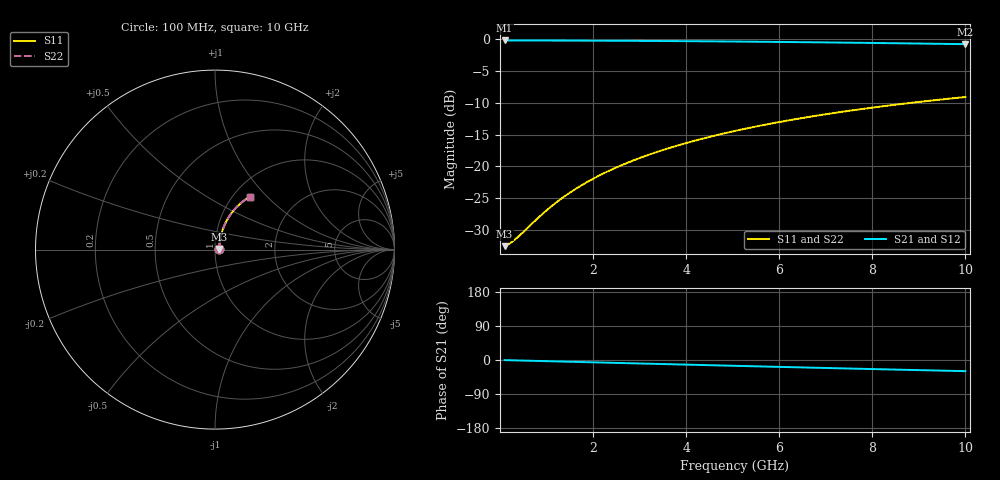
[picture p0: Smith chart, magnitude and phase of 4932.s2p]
# Hz S RI R 50.00
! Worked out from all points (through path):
!   100 points, 100 MHz to 10 GHz, reference 50 ohm
!   highest |S21| = -0.21 dB at 100 MHz (marker M1); lowest = -0.8 dB at 10 GHz (marker M2)
!   group delay of S21, straight-line fit = 8.2 ps
!   lowest |S11| = -32.5 dB at 100 MHz (marker M3), VSWR 1.05, Z = 52.4 + j0.388 ohm
!   |S11| at or under -10 dB: start of sweep to 8.845 GHz
!   |S22| runs from -32.5 to -9.1 dB; largest |S21 - S12| = 0
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1e8  0.0233 0.0037  0.9766 -0.00524  0.9766 -0.00524  0.0233 0.0037
2e8  0.0236 0.0074  0.9764 -0.0105  0.9764 -0.0105  0.0236 0.0074
3e8  0.0238 0.0111  0.9762 -0.0157  0.9762 -0.0157  0.0238 0.0111
4e8  0.024 0.0148  0.976 -0.021  0.976 -0.021  0.024 0.0148
9e8  0.0256 0.0332  0.9743 -0.0471  0.9743 -0.0471  0.0256 0.0332
1.2e9  0.027 0.0442  0.9728 -0.0627  0.9728 -0.0627  0.027 0.0442
1.5e9  0.0287 0.0551  0.971 -0.0782  0.971 -0.0782  0.0287 0.0551
1.8e9  0.0307 0.066  0.9689 -0.0937  0.9689 -0.0937  0.0307 0.066
2.1e9  0.0331 0.0767  0.9663 -0.1091  0.9663 -0.1091  0.0331 0.0767
2.5e9  0.0368 0.0909  0.9624 -0.1295  0.9624 -0.1295  0.0368 0.0909
2.9e9  0.0411 0.1049  0.9579 -0.1496  0.9579 -0.1496  0.0411 0.1049
3.4e9  0.0472 0.1221  0.9514 -0.1745  0.9514 -0.1745  0.0472 0.1221
3.8e9  0.0527 0.1355  0.9455 -0.1941  0.9455 -0.1941  0.0527 0.1355
4.2e9  0.0588 0.1486  0.939 -0.2134  0.939 -0.2134  0.0588 0.1486
4.6e9  0.0653 0.1614  0.932 -0.2324  0.932 -0.2324  0.0653 0.1614
5.1e9  0.0743 0.1769  0.9225 -0.2557  0.9225 -0.2557  0.0743 0.1769
5.9e9  0.09 0.2005  0.9057 -0.2917  0.9057 -0.2917  0.09 0.2005
6.7e9  0.1074 0.2224  0.8871 -0.3261  0.8871 -0.3261  0.1074 0.2224
7.5e9  0.1263 0.2426  0.8668 -0.3588  0.8668 -0.3588  0.1263 0.2426
8.4e9  0.149 0.2631  0.8423 -0.3934  0.8423 -0.3934  0.149 0.2631
9.2e9  0.1703 0.2793  0.8192 -0.4222  0.8192 -0.4222  0.1703 0.2793
1e10  0.1924 0.2936  0.7952 -0.449  0.7952 -0.449  0.1924 0.2936
